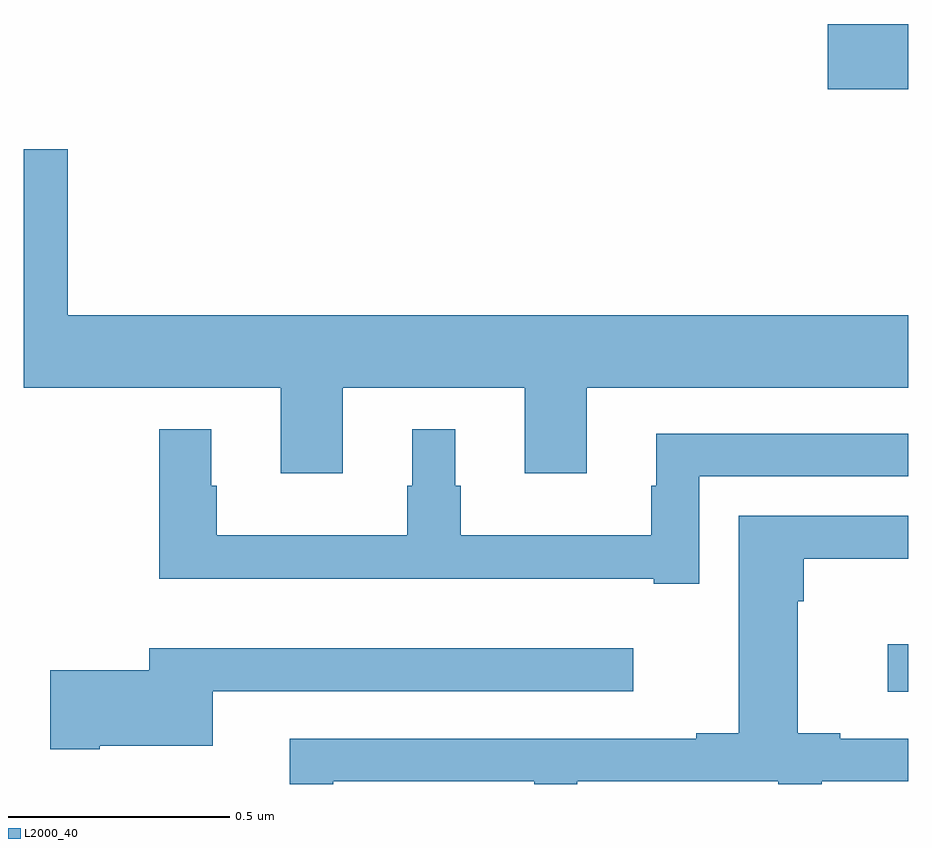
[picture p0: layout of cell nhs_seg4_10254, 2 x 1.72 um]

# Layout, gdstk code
import gdstk
lib = gdstk.Library(unit=1e-6, precision=1e-09)
def R(c, l, rs):  # rectangles x0, y0, x1, y1
    for r in rs: c.add(gdstk.rectangle(r[:2], r[2:], *l))
def P(c, l, *ps):  # polygons
    for p in ps: c.add(gdstk.Polygon(p, *l))
L2000_40 = (2000, 40)

nhs_seg4_10254 = lib.new_cell('nhs_seg4_10254')
R(nhs_seg4_10254, L2000_40, [(238.953,820.109,239,820.216), (238.818,821.471,239,821.618)])
P(nhs_seg4_10254, L2000_40, [(237.721,820.796),(238.133,820.796),(238.133,820.602),(238.273,820.602),(238.273,820.796),(239,820.796),(239,820.96),(237.1,820.96),(237.1,821.335),(237,821.335),(237,820.796),(237.581,820.796),(237.581,820.602),(237.721,820.602)],
  [(238.527,820.596),(239,820.596),(239,820.692),(238.43,820.692),(238.43,820.574),(238.419,820.574),(238.419,820.462),(237.988,820.462),(237.988,820.574),(237.976,820.574),(237.976,820.702),(237.878,820.702),(237.878,820.574),(237.867,820.574),(237.867,820.462),(237.436,820.462),(237.436,820.574),(237.424,820.574),(237.424,820.702),(237.307,820.702),(237.307,820.364),(238.424,820.364),(238.424,820.353),(238.527,820.353)],
  [(237.7,819.906),(238.154,819.906),(238.154,819.9),(238.252,819.9),(238.252,819.906),(238.706,819.906),(238.706,819.9),(238.804,819.9),(238.804,819.906),(239,819.906),(239,820.002),(238.846,820.002),(238.846,820.015),(238.75,820.015),(238.75,820.313),(238.763,820.313),(238.763,820.409),(239,820.409),(239,820.506),(238.616,820.506),(238.616,820.015),(238.52,820.015),(238.52,820.002),(237.602,820.002),(237.602,819.9),(237.7,819.9)],
  [(237.172,819.986),(237.427,819.986),(237.427,820.11),(238.378,820.11),(238.378,820.207),(237.284,820.207),(237.284,820.157),(237.06,820.157),(237.06,819.979),(237.172,819.979)])

lib.write_gds('nhs_seg4_10254.gds')
